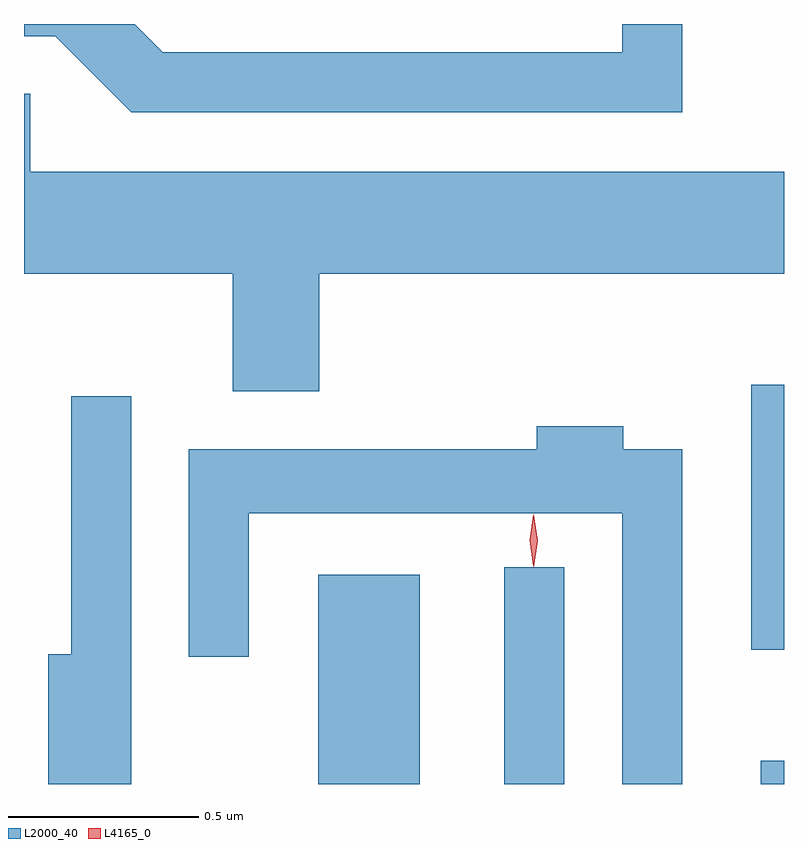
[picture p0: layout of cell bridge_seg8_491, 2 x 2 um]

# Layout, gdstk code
import gdstk
lib = gdstk.Library(unit=1e-6, precision=1e-09)
def R(c, l, rs):  # rectangles x0, y0, x1, y1
    for r in rs: c.add(gdstk.rectangle(r[:2], r[2:], *l))
def P(c, l, *ps):  # polygons
    for p in ps: c.add(gdstk.Polygon(p, *l))
L2000_40 = (2000, 40)
L4165_0 = (4165, 0)

bridge_seg8_491 = lib.new_cell('bridge_seg8_491')
R(bridge_seg8_491, L2000_40, [(509.786,1928.313,510.054,1928.864), (510.276,1928.313,510.434,1928.883), (510.951,1928.313,511.012,1928.374), (510.926,1928.666,511.012,1929.364)])
P(bridge_seg8_491, L2000_40, [(510.744,1930.313),(510.586,1930.313),(510.586,1930.239),(509.377,1930.239),(509.303,1930.313),(509.012,1930.313),(509.012,1930.281),(509.094,1930.281),(509.294,1930.081),(510.744,1930.081)],
  [(509.789,1929.656),(511.012,1929.656),(511.012,1929.924),(509.029,1929.924),(509.029,1930.129),(509.012,1930.129),(509.012,1929.656),(509.561,1929.656),(509.561,1929.346),(509.789,1929.346)],
  [(509.294,1929.333),(509.136,1929.333),(509.136,1928.654),(509.076,1928.654),(509.076,1928.313),(509.294,1928.313)],
  [(510.744,1929.194),(510.589,1929.194),(510.589,1929.254),(510.361,1929.254),(510.361,1929.194),(509.446,1929.194),(509.446,1928.648),(509.604,1928.648),(509.604,1929.026),(510.586,1929.026),(510.586,1928.313),(510.744,1928.313)])
P(bridge_seg8_491, L4165_0, [(510.353,1928.884),(510.344,1928.953),(510.353,1929.022),(510.354,1929.023),(510.354,1929.022),(510.364,1928.953),(510.354,1928.884),(510.354,1928.884)],
  [(510.352,1928.887),(510.343,1928.954),(510.352,1929.02),(510.352,1929.02),(510.353,1929.02),(510.362,1928.954),(510.353,1928.887),(510.353,1928.887)])

lib.write_gds('bridge_seg8_491.gds')
